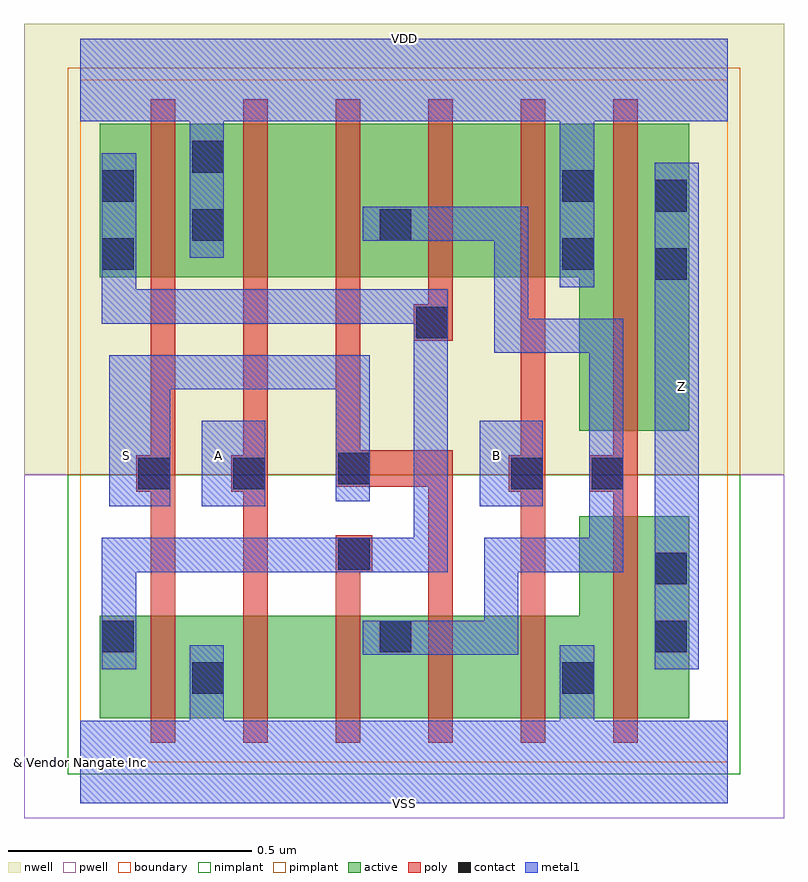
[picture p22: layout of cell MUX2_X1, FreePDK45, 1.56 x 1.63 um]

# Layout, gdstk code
import gdstk
lib = gdstk.Library(unit=1e-6, precision=1e-10)
def R(c, l, rs):  # rectangles x0, y0, x1, y1
    for r in rs: c.add(gdstk.rectangle(r[:2], r[2:], *l))
def P(c, l, *ps):  # polygons
    for p in ps: c.add(gdstk.Polygon(p, *l))
active = (1, 0)
pwell = (2, 0)
nwell = (3, 0)
nimplant = (4, 0)
pimplant = (5, 0)
poly = (9, 0)
contact = (10, 0)
metal1 = (11, 0)
boundary = (235, 0)

mux2_x1 = lib.new_cell('MUX2_X1')
P(mux2_x1, active, [(0.04,0.09),(0.04,0.3),(1.025,0.3),(1.025,0.505),(1.25,0.505),(1.25,0.09)],
  [(1.025,0.68),(1.025,0.995),(0.04,0.995),(0.04,1.31),(1.25,1.31),(1.25,0.68)])
R(mux2_x1, pwell, [(-0.115,-0.115,1.445,0.59)])
R(mux2_x1, nwell, [(-0.115,0.59,1.445,1.515)])
R(mux2_x1, nimplant, [(-0.025,-0.025,1.355,0.59)])
R(mux2_x1, pimplant, [(-0.025,0.59,1.355,1.425)])
P(mux2_x1, poly, [(0.145,0.04),(0.145,0.555),(0.115,0.555),(0.115,0.63),(0.145,0.63),(0.145,1.36),(0.195,1.36),(0.195,0.04)],
  [(0.335,0.04),(0.335,0.555),(0.31,0.555),(0.31,0.63),(0.335,0.63),(0.335,1.36),(0.385,1.36),(0.385,0.04)],
  [(0.525,0.04),(0.525,0.465),(0.6,0.465),(0.6,0.39),(0.575,0.39),(0.575,0.04)],
  [(0.715,0.04),(0.715,0.565),(0.525,0.565),(0.525,1.36),(0.575,1.36),(0.575,0.64),(0.765,0.64),(0.765,0.04)],
  [(0.685,0.865),(0.685,0.94),(0.715,0.94),(0.715,1.36),(0.765,1.36),(0.765,0.865)],
  [(0.905,0.04),(0.905,0.555),(0.88,0.555),(0.88,0.63),(0.905,0.63),(0.905,1.36),(0.955,1.36),(0.955,0.04)],
  [(1.095,0.04),(1.095,0.555),(1.045,0.555),(1.045,0.63),(1.095,0.63),(1.095,1.36),(1.145,1.36),(1.145,0.04)])
R(mux2_x1, contact, [(0.23,0.14,0.295,0.205), (0.99,0.14,1.055,0.205), (0.045,0.225,0.11,0.29), (0.615,0.225,0.68,0.29), (1.18,0.225,1.245,0.29), (1.18,0.365,1.245,0.43), (0.53,0.395,0.595,0.46), (0.12,0.56,0.185,0.625), (0.315,0.56,0.38,0.625), (0.885,0.56,0.95,0.625), (1.05,0.56,1.115,0.625), (0.53,0.57,0.595,0.635), (0.69,0.87,0.755,0.935), (1.18,0.99,1.245,1.055), (0.045,1.01,0.11,1.075), (0.99,1.01,1.055,1.075), (0.23,1.07,0.295,1.135), (0.615,1.07,0.68,1.135), (1.18,1.13,1.245,1.195), (0.045,1.15,0.11,1.215), (0.99,1.15,1.055,1.215), (0.23,1.21,0.295,1.275)])
R(mux2_x1, metal1, [(1.18,0.19,1.27,1.23), (0.25,0.525,0.38,0.7), (0.82,0.525,0.95,0.7)])
P(mux2_x1, metal1, [(0.06,0.525),(0.06,0.835),(0.595,0.835),(0.595,0.535),(0.525,0.535),(0.525,0.765),(0.185,0.765),(0.185,0.525)],
  [(0.045,0.19),(0.045,0.46),(0.685,0.46),(0.685,0.9),(0.045,0.9),(0.045,1.25),(0.115,1.25),(0.115,0.97),(0.755,0.97),(0.755,0.39),(0.115,0.39),(0.115,0.19)],
  [(0.58,0.22),(0.58,0.29),(0.83,0.29),(0.83,0.46),(1.045,0.46),(1.045,0.84),(0.85,0.84),(0.85,1.07),(0.58,1.07),(0.58,1.14),(0.92,1.14),(0.92,0.91),(1.115,0.91),(1.115,0.39),(0.9,0.39),(0.9,0.22)],
  [(0,-0.085),(0,0.085),(0.225,0.085),(0.225,0.24),(0.295,0.24),(0.295,0.085),(0.985,0.085),(0.985,0.24),(1.055,0.24),(1.055,0.085),(1.33,0.085),(1.33,-0.085)],
  [(0.985,0.975),(0.985,1.315),(0.295,1.315),(0.295,1.035),(0.225,1.035),(0.225,1.315),(0,1.315),(0,1.485),(1.33,1.485),(1.33,1.315),(1.055,1.315),(1.055,0.975)])
R(mux2_x1, boundary, [(0,0,1.33,1.4)])
mux2_x1.add(gdstk.Label('A', (0.285,0.63), layer=11, texttype=0))
mux2_x1.add(gdstk.Label('B', (0.855,0.63), layer=11, texttype=0))
mux2_x1.add(gdstk.Label('S', (0.095,0.63), layer=11, texttype=0))
mux2_x1.add(gdstk.Label('VDD', (0.665,1.485), layer=11, texttype=0))
mux2_x1.add(gdstk.Label('VSS', (0.665,-0.085), layer=11, texttype=0))
mux2_x1.add(gdstk.Label('Z', (1.235,0.77), layer=11, texttype=0))
mux2_x1.add(gdstk.Label('& Vendor Nangate Inc', (0,0), layer=63, texttype=63))
mux2_x1.add(gdstk.Label('& Product Open Cell Library', (0,0), layer=63, texttype=63))
mux2_x1.add(gdstk.Label('& Version 2010_12', (0,0), layer=63, texttype=63))
mux2_x1.add(gdstk.Label('& Instance MUX2_X1', (0,0), layer=63, texttype=63))

lib.write_gds('MUX2_X1.gds')
